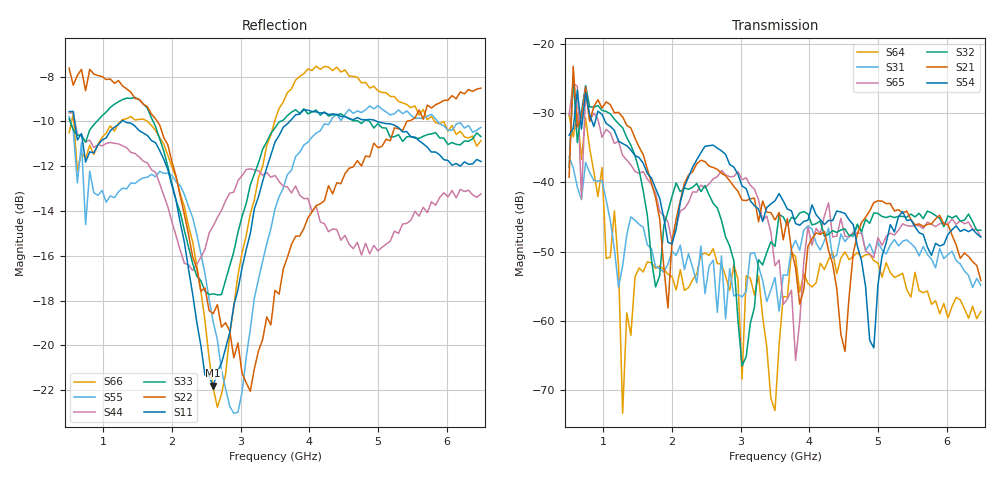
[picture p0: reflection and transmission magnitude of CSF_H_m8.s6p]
!Keysight Technologies,M9804A,MY58100912,A.14.10.03
!Date: Thursday, April 27, 2023 10:28:33
!Correction: S11(C  6-Port  )
!S12(C  6-Port  )
!S13(C  6-Port  )
!S14(C  6-Port  )
!S15(C  6-Port  )
!S16(C  6-Port  )
!S21(C  6-Port  )
!S22(C  6-Port  )
!S23(C  6-Port  )
!S24(C  6-Port  )
!S25(C  6-Port  )
!S26(C  6-Port  )
!S31(C  6-Port  )
!S32(C  6-Port  )
!S33(C  6-Port  )
!S34(C  6-Port  )
!S35(C  6-Port  )
!S36(C  6-Port  )
!S41(C  6-Port  )
!S42(C  6-Port  )
!S43(C  6-Port  )
!S44(C  6-Port  )
!S45(C  6-Port  )
!S46(C  6-Port  )
!S51(C  6-Port  )
!S52(C  6-Port  )
!S53(C  6-Port  )
!S54(C  6-Port  )
!S55(C  6-Port  )
!S56(C  6-Port  )
!S61(C  6-Port  )
!S62(C  6-Port  )
!S63(C  6-Port  )
!S64(C  6-Port  )
!S65(C  6-Port  )
!S66(C  6-Port  )
!S6P File: Measurement: :
# Hz S  RI  R 50
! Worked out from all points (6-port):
!   101 points, 500 MHz to 6.5 GHz, reference 50 ohm
!   strongest paths, dB at 500 MHz, 2 GHz, 3.5 GHz, 5 GHz, 6.5 GHz:
!     S54: -33.2, -48.9, -42.7, -54.8, -47.9
!     S21: -39.2, -48.4, -45.4, -42.7, -54.2
!     S32: -37.8, -42.0, -49.3, -44.5, -46.9
!     S65: -30.2, -48.6, -52.1, -48.0, -47.9
!     S31: -36.3, -49.9, -53.7, -48.7, -54.9
!     S64: -30.3, -53.6, -73.0, -51.7, -58.7
!   lowest |S11| = -21.8 dB at 2.6 GHz (marker M1), VSWR 1.18, Z = 42.7 + j1.91 ohm
!   |S11| at or under -10 dB: 581 MHz to 1.263 GHz (682.4 MHz wide, 74 % of centre); 1.309 GHz to 3.713 GHz (2.404 GHz wide, 95.7 % of centre); 4.987 GHz to end of sweep
